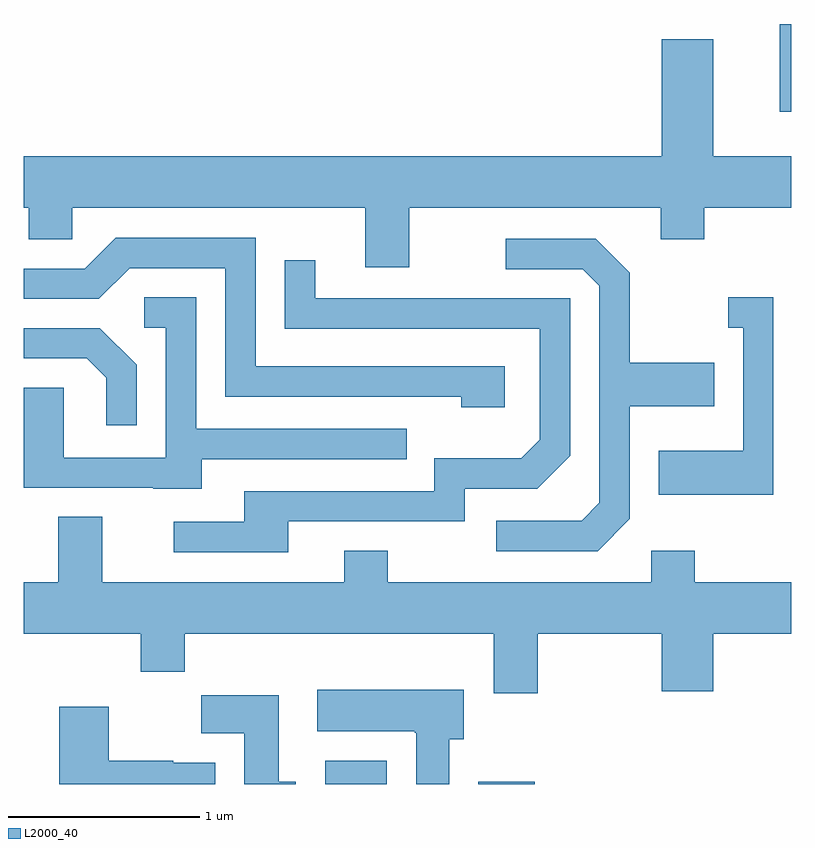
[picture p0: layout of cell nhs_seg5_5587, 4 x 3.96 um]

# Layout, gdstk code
import gdstk
lib = gdstk.Library(unit=1e-6, precision=1e-09)
def R(c, l, rs):  # rectangles x0, y0, x1, y1
    for r in rs: c.add(gdstk.rectangle(r[:2], r[2:], *l))
def P(c, l, *ps):  # polygons
    for p in ps: c.add(gdstk.Polygon(p, *l))
L2000_40 = (2000, 40)

nhs_seg5_5587 = lib.new_cell('nhs_seg5_5587')
R(nhs_seg5_5587, L2000_40, [(353.181,1396.072,353.504,1396.194), (353.981,1396.072,354.274,1396.084), (355.551,1399.576,355.611,1400.034)])
P(nhs_seg5_5587, L2000_40, [(353.619,1399.076),(354.931,1399.076),(354.931,1398.911),(355.159,1398.911),(355.159,1399.076),(355.611,1399.076),(355.611,1399.344),(355.204,1399.344),(355.204,1399.954),(354.936,1399.954),(354.936,1399.344),(351.611,1399.344),(351.611,1399.076),(351.636,1399.076),(351.636,1398.911),(351.864,1398.911),(351.864,1399.076),(353.391,1399.076),(353.391,1398.766),(353.619,1398.766)],
  [(354.119,1398.249),(352.819,1398.249),(352.819,1398.919),(352.089,1398.919),(351.929,1398.759),(351.611,1398.759),(351.611,1398.601),(352.002,1398.601),(352.162,1398.761),(352.661,1398.761),(352.661,1398.091),(353.891,1398.091),(353.891,1398.036),(354.119,1398.036)],
  [(354.769,1397.454),(354.769,1398.041),(355.209,1398.041),(355.209,1398.269),(354.769,1398.269),(354.769,1398.737),(354.592,1398.914),(354.123,1398.914),(354.123,1398.756),(354.524,1398.756),(354.611,1398.669),(354.611,1397.537),(354.519,1397.444),(354.073,1397.444),(354.073,1397.286),(354.602,1397.286)],
  [(352.989,1397.441),(353.909,1397.441),(353.909,1397.611),(354.287,1397.611),(354.459,1397.784),(354.459,1398.604),(353.129,1398.604),(353.129,1398.803),(352.971,1398.803),(352.971,1398.446),(354.301,1398.446),(354.301,1397.867),(354.204,1397.769),(353.751,1397.769),(353.751,1397.599),(352.761,1397.599),(352.761,1397.439),(352.393,1397.439),(352.393,1397.281),(352.989,1397.281)],
  [(352.539,1397.766),(353.608,1397.766),(353.608,1397.924),(352.509,1397.924),(352.509,1398.609),(352.238,1398.609),(352.238,1398.451),(352.351,1398.451),(352.351,1397.774),(351.819,1397.774),(351.819,1398.139),(351.611,1398.139),(351.611,1397.616),(352.285,1397.616),(352.285,1397.611),(352.539,1397.611)],
  [(355.519,1398.609),(355.283,1398.609),(355.283,1398.451),(355.361,1398.451),(355.361,1397.809),(354.921,1397.809),(354.921,1397.581),(355.519,1397.581)],
  [(352.199,1398.257),(352.007,1398.449),(351.611,1398.449),(351.611,1398.291),(351.939,1398.291),(352.041,1398.189),(352.041,1397.943),(352.199,1397.943)],
  [(354.289,1396.856),(354.936,1396.856),(354.936,1396.556),(355.204,1396.556),(355.204,1396.856),(355.611,1396.856),(355.611,1397.124),(355.109,1397.124),(355.109,1397.289),(354.881,1397.289),(354.881,1397.124),(353.509,1397.124),(353.509,1397.289),(353.281,1397.289),(353.281,1397.124),(352.019,1397.124),(352.019,1397.464),(351.791,1397.464),(351.791,1397.124),(351.611,1397.124),(351.611,1396.856),(352.221,1396.856),(352.221,1396.656),(352.449,1396.656),(352.449,1396.856),(354.061,1396.856),(354.061,1396.546),(354.289,1396.546)],
  [(353.829,1396.306),(353.904,1396.306),(353.904,1396.564),(353.141,1396.564),(353.141,1396.346),(353.65,1396.346),(353.65,1396.34),(353.656,1396.34),(353.656,1396.072),(353.829,1396.072)],
  [(353.029,1396.084),(352.939,1396.084),(352.939,1396.534),(352.536,1396.534),(352.536,1396.336),(352.761,1396.336),(352.761,1396.072),(353.029,1396.072)],
  [(352.609,1396.184),(352.39,1396.184),(352.39,1396.194),(352.054,1396.194),(352.054,1396.474),(351.796,1396.474),(351.796,1396.072),(352.609,1396.072)])

lib.write_gds('nhs_seg5_5587.gds')
